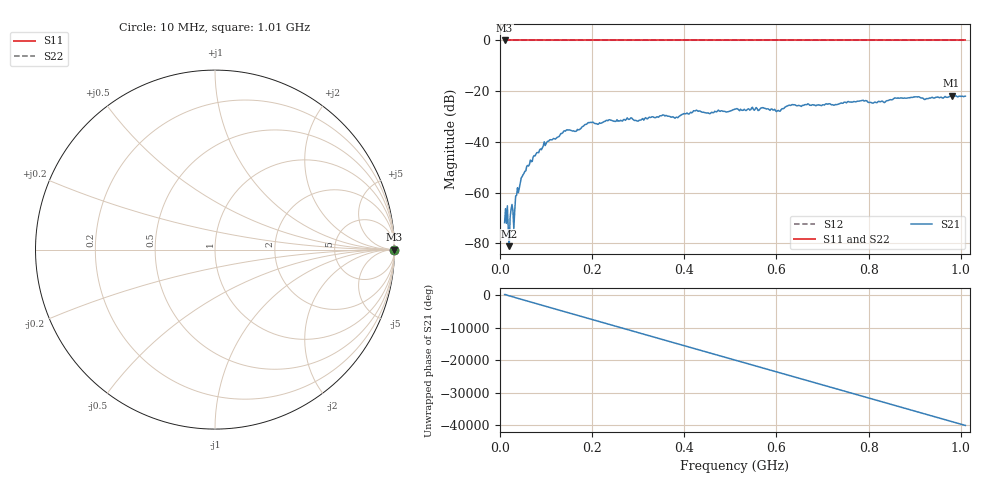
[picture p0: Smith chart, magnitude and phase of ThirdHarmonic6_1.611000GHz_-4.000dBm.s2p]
! 8/16/2025 7:13:15 PM
! C:\ANRITSUVNA\TEMP\TEMP.S2P
! CHANNEL.1
! TR.MEASUREMENT
! RAW.DATA
! RF.CORRECTION.OFF
! AVERAGING.OFF
! IF.BANDWIDTH: 5KHZ
! SWEEPTYPE:  FREQ.SWEEP(Linear)
! Reference Plane Port Info
! PORT:  PORT1  PORT2
! DISTANCE:  0  m  0  m
! TIME:  0  s  0  s
! PHASE.OFFSET:  0  deg.  0  deg.
! LOSS:  0  dB  0  dB
! REF.LOSS:  0  dB  0  dB
! REF.FREQ:  0  Hz  0  Hz
! Power Info
! POWER:  -20  dBm  -20  dBm
! EFF.POWER:  -20  dBm  -20  dBm
! SOURCE.ATTEN:  0  dB  0  dB
! TEST.ATTEN:  0  dB  0  dB
# GHZ S RI R 50.0
! FREQ.GHZ  S11RE  S11IM  S21RE  S21IM  S12RE  S12IM  S22RE  S22IM
!; PortSelection: Port_12
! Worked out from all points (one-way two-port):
!   501 points, 10 MHz to 1.01 GHz, reference 50 ohm
!   highest |S21| = -21.79 dB at 980 MHz (marker M1); lowest = -81.1 dB at 20 MHz (marker M2)
!   lowest |S11| = 0.0 dB at 10 MHz (marker M3)
!   |S11| at or under -10 dB: nowhere
!   |S22| runs from 0.0 to 0.0 dB; largest |S21 - S12| = 1.1
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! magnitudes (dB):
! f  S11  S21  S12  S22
! 10 MHz  0.0  -71.8  0.0  0.0
! 12 MHz  0.0  -66.3  0.0  0.0
! 18 MHz  0.0  -74.6  0.0  0.0
! 20 MHz  0.0  -81.1  0.0  0.0
! 32 MHz  0.0  -67.1  0.0  0.0
! 38 MHz  0.0  -58.0  0.0  0.0
! 48 MHz  0.0  -53.6  0.0  0.0
! 76 MHz  0.0  -45.5  0.0  0.0
! 100 MHz  0.0  -40.7  0.0  0.0
! 142 MHz  0.0  -35.7  0.0  0.0
! 178 MHz  0.0  -34.1  0.0  0.0
! 196 MHz  0.0  -32.3  0.0  0.0
! 344 MHz  0.0  -30.2  0.0  0.0
! 382 MHz  0.0  -30.3  0.0  0.0
! 424 MHz  0.0  -27.7  0.0  0.0
! 510 MHz  0.0  -27.1  0.0  0.0
! 604 MHz  0.0  -27.5  0.0  0.0
! 630 MHz  0.0  -25.6  0.0  0.0
! 678 MHz  0.0  -25.3  0.0  0.0
! 844 MHz  0.0  -23.5  0.0  0.0
! 980 MHz  0.0  -21.8  0.0  0.0
! 1.01 GHz  0.0  -22.0  0.0  0.0
